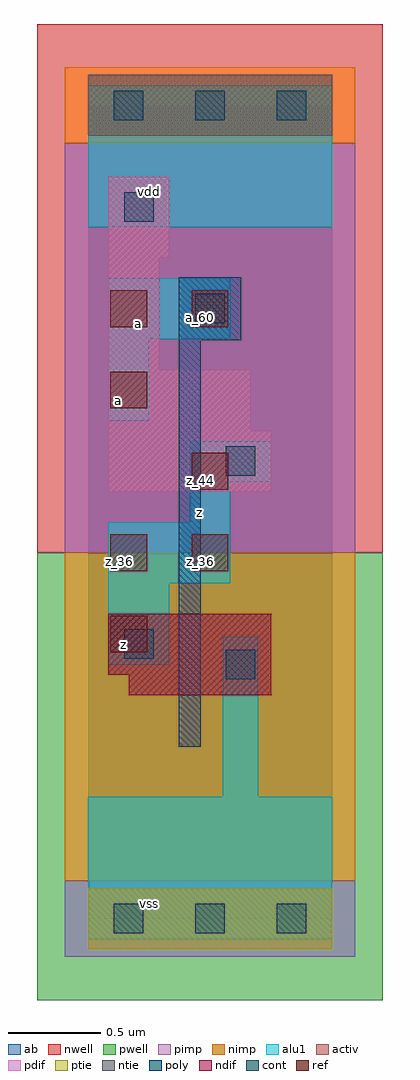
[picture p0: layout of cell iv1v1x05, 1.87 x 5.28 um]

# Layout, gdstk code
import gdstk
lib = gdstk.Library(unit=1e-6, precision=2.5e-09)
def R(c, l, rs):  # rectangles x0, y0, x1, y1
    for r in rs: c.add(gdstk.rectangle(r[:2], r[2:], *l))
def A(c, l, x, y, w, h, nx, ny, dx, dy):  # array of equal rectangles
    R(c, l, [(x+i*dx, y+j*dy, x+i*dx+w, y+j*dy+h) for i in range(nx) for j in range(ny)])
ndif = (3, 0)
pdif = (4, 0)
ntie = (5, 0)
ptie = (6, 0)
ref = (24, 0)
cont = (25, 0)
pwell = (41, 0)
nwell = (42, 0)
activ = (43, 0)
pimp = (44, 0)
nimp = (45, 0)
poly = (46, 0)
alu1 = (49, 0)
ab = (63, 0)

iv1v1x05 = lib.new_cell('iv1v1x05')
R(iv1v1x05, ndif, [(0.22,1.21,0.99,1.32), (0.11,1.32,0.99,1.65)])
R(iv1v1x05, pdif, [(0.11,2.31,0.99,2.64), (0.11,2.64,0.88,2.97), (0.11,2.97,0.385,3.575), (0.11,3.575,0.44,4.015)])
R(iv1v1x05, ntie, [(0,4.235,1.32,4.565)])
R(iv1v1x05, ptie, [(0,-0.165,1.32,0.165)])
R(iv1v1x05, ref, [(0.12,1.44,0.32,1.64), (0.12,1.88,0.32,2.08), (0.56,1.88,0.76,2.08), (0.56,2.32,0.76,2.52), (0.12,2.76,0.32,2.96), (0.12,3.2,0.32,3.4), (0.56,3.2,0.76,3.4)])
A(iv1v1x05, cont, 0.14, -0.08, 0.16, 0.16, 3, 2, 0.44, 4.4)
R(iv1v1x05, cont, [(0.745,1.295,0.905,1.455), (0.195,1.405,0.355,1.565), (0.745,2.395,0.905,2.555), (0.58,3.22,0.74,3.38), (0.195,3.77,0.355,3.93)])
R(iv1v1x05, pwell, [(-0.275,-0.44,1.595,1.98)])
R(iv1v1x05, nwell, [(-0.275,1.98,1.595,4.84)])
R(iv1v1x05, activ, [(0,-0.165,1.32,0.165), (0.22,1.21,0.99,1.32), (0.11,1.32,0.99,1.65), (0.11,2.31,0.99,2.64), (0.11,2.64,0.88,2.97), (0.11,2.97,0.385,3.575), (0.11,3.575,0.44,4.015), (0,4.235,1.32,4.565)])
R(iv1v1x05, pimp, [(-0.125,-0.205,1.445,0.205), (-0.125,1.98,1.445,4.195)])
R(iv1v1x05, nimp, [(-0.125,0.205,1.445,1.98), (-0.125,4.195,1.445,4.605)])
R(iv1v1x05, poly, [(0.49,0.93,0.61,3.13), (0.49,3.13,0.83,3.47)])
R(iv1v1x05, alu1, [(0,-0.11,1.32,0.66), (0.73,0.66,0.92,1.525), (0.11,1.375,0.44,1.815), (0.11,1.815,0.77,2.145), (0.55,2.145,0.77,2.365), (0.55,2.365,0.99,2.585), (0.11,2.695,0.33,3.135), (0.11,3.135,0.77,3.465), (0,3.74,1.32,4.51)])
R(iv1v1x05, ab, [(0,0,1.32,4.4)])
iv1v1x05.add(gdstk.Label('vss', (0.33,0.0825), layer=49, texttype=0))
iv1v1x05.add(gdstk.Label('z', (0.1925,1.485), layer=49, texttype=0))
iv1v1x05.add(gdstk.Label('z', (0.605,2.2), layer=49, texttype=0))
iv1v1x05.add(gdstk.Label('a', (0.165,2.805), layer=49, texttype=0))
iv1v1x05.add(gdstk.Label('a', (0.275,3.2175), layer=49, texttype=0))
iv1v1x05.add(gdstk.Label('vdd', (0.33,3.9325), layer=49, texttype=0))
iv1v1x05.add(gdstk.Label('z_36', (0.61,1.93), layer=24, texttype=0))
iv1v1x05.add(gdstk.Label('z_44', (0.61,2.37), layer=24, texttype=0))
iv1v1x05.add(gdstk.Label('a_60', (0.61,3.25), layer=24, texttype=0))
iv1v1x05.add(gdstk.Label('z_28', (0.17,1.49), layer=24, texttype=0))
iv1v1x05.add(gdstk.Label('z_36', (0.17,1.93), layer=24, texttype=0))
iv1v1x05.add(gdstk.Label('a_52', (0.17,2.81), layer=24, texttype=0))
iv1v1x05.add(gdstk.Label('a_60', (0.17,3.25), layer=24, texttype=0))

lib.write_gds('iv1v1x05.gds')
